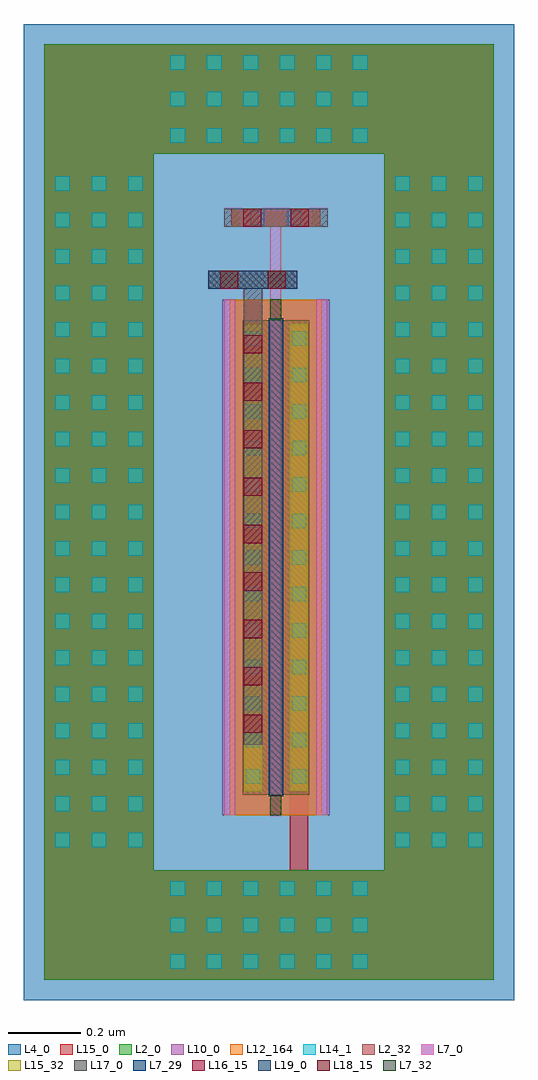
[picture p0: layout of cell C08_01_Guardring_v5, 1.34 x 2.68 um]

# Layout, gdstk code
import gdstk
lib = gdstk.Library(unit=1e-6, precision=1e-09)
def R(c, l, rs):  # rectangles x0, y0, x1, y1
    for r in rs: c.add(gdstk.rectangle(r[:2], r[2:], *l))
def A(c, l, x, y, w, h, nx, ny, dx, dy):  # array of equal rectangles
    R(c, l, [(x+i*dx, y+j*dy, x+i*dx+w, y+j*dy+h) for i in range(nx) for j in range(ny)])
L2_0 = (2, 0)
L2_32 = (2, 32)
L4_0 = (4, 0)
L7_0 = (7, 0)
L7_29 = (7, 29)
L7_32 = (7, 32)
L10_0 = (10, 0)
L12_164 = (12, 164)
L14_1 = (14, 1)
L15_0 = (15, 0)
L15_32 = (15, 32)
L16_15 = (16, 15)
L17_0 = (17, 0)
L18_15 = (18, 15)
L19_0 = (19, 0)

c08_01_guardring_v5_srf_ = lib.new_cell('C08_01_Guardring_v5:SRF_Tr11:SRF_Pmos:SRF_Source_ViaM1M2:SRF_ViaM1M2')
R(c08_01_guardring_v5_srf_, L15_0, [(0,-1.072,0.05,0.082)])
A(c08_01_guardring_v5_srf_, L16_15, 0, -1.04, 0.05, 0.05, 1, 9, 0, 0.13)
R(c08_01_guardring_v5_srf_, L17_0, [(0,-1.072,0.05,0.082)])

c_c08_01_guardring_v5_srf_ = lib.new_cell('C08_01_Guardring_v5:SRF_Tr11:SRF_Pmos:SRF_Source_ViaM1M2')
c_c08_01_guardring_v5_srf_.add(gdstk.Reference(c08_01_guardring_v5_srf_, (-0.025,0.495)))

c_c08_01_guardring_v5_srf__ = lib.new_cell('C08_01_Guardring_v5:SRF_Tr11:SRF_Pmos:SRF_Gate_ViaM0Mx:SRF_ViaM0M1')
R(c_c08_01_guardring_v5_srf__, L7_0, [(-0.01,-0.004,0.15,0.044)])
R(c_c08_01_guardring_v5_srf__, L14_1, [(0,0,0.04,0.04), (0.1,0,0.14,0.04)])
R(c_c08_01_guardring_v5_srf__, L15_0, [(-0.021,-0.005,0.161,0.045)])

c_c08_01_guardring_v5_srf___ = lib.new_cell('C08_01_Guardring_v5:SRF_Tr11:SRF_Pmos:SRF_Gate_ViaM0Mx:SRF_ViaM1M2')
R(c_c08_01_guardring_v5_srf___, L15_0, [(-0.032,0,0.212,0.05)])
R(c_c08_01_guardring_v5_srf___, L16_15, [(0,0,0.05,0.05), (0.13,0,0.18,0.05)])
R(c_c08_01_guardring_v5_srf___, L17_0, [(-0.032,0,0.212,0.05)])

c_c08_01_guardring_v5_srf____ = lib.new_cell('C08_01_Guardring_v5:SRF_Tr11:SRF_Pmos:SRF_Gate_ViaM0Mx')
c_c08_01_guardring_v5_srf____.add(gdstk.Reference(c_c08_01_guardring_v5_srf__, (-0.07,-0.02)))
c_c08_01_guardring_v5_srf____.add(gdstk.Reference(c_c08_01_guardring_v5_srf___, (-0.09,-0.025)))

c_c08_01_guardring_v5_srf_____ = lib.new_cell('C08_01_Guardring_v5:SRF_Tr11:SRF_Pmos')
R(c_c08_01_guardring_v5_srf_____, L2_0, [(-0.076,0.057,0.106,1.357)])
R(c_c08_01_guardring_v5_srf_____, L2_32, [(-0.076,0.057,0,1.357), (0.03,0.057,0.106,1.357)])
A(c_c08_01_guardring_v5_srf_____, L7_0, -0.126, 0, 0.03, 1.414, 3, 1, 0.126, 0)
R(c_c08_01_guardring_v5_srf_____, L7_0, [(0,1.414,0.03,1.614), (-0.085,1.614,0.115,1.662)])
R(c_c08_01_guardring_v5_srf_____, L7_29, [(-0.005,0.052,0.035,1.362)])
R(c_c08_01_guardring_v5_srf_____, L7_32, [(0,0,0.03,0.057), (0,1.357,0.03,1.414)])
R(c_c08_01_guardring_v5_srf_____, L10_0, [(-0.132,0.001,0.162,1.413)])
R(c_c08_01_guardring_v5_srf_____, L12_164, [(-0.111,0.001,0.141,1.413)])
A(c_c08_01_guardring_v5_srf_____, L14_1, -0.068, 0.087, 0.04, 0.04, 1, 13, 0, 0.1)
A(c_c08_01_guardring_v5_srf_____, L14_1, 0.058, 0.087, 0.04, 0.04, 1, 13, 0, 0.1)
R(c_c08_01_guardring_v5_srf_____, L15_0, [(-0.073,0.066,-0.023,1.348), (-0.073,0.066,-0.023,1.348), (0.053,0.066,0.103,1.348), (0.053,0.066,0.103,1.348)])
R(c_c08_01_guardring_v5_srf_____, L15_32, [(-0.073,0.066,-0.023,1.348), (0.053,0.066,0.103,1.348)])
R(c_c08_01_guardring_v5_srf_____, L17_0, [(-0.073,1.348,-0.023,1.443), (-0.073,1.443,-0.023,1.493), (-0.127,1.613,0.157,1.663)])
c_c08_01_guardring_v5_srf_____.add(gdstk.Reference(c_c08_01_guardring_v5_srf_, (-0.048,0.771)))
c_c08_01_guardring_v5_srf_____.add(gdstk.Reference(c_c08_01_guardring_v5_srf____, (0.015,1.638)))

c_c08_01_guardring_v5_srf______ = lib.new_cell('C08_01_Guardring_v5:SRF_Tr11:SRF_Source_ViaM2M3:SRF_ViaM2M3')
R(c_c08_01_guardring_v5_srf______, L17_0, [(-0.032,0,0.212,0.05)])
R(c_c08_01_guardring_v5_srf______, L18_15, [(0,0,0.05,0.05), (0.13,0,0.18,0.05)])
R(c_c08_01_guardring_v5_srf______, L19_0, [(-0.032,0,0.212,0.05)])

c_c08_01_guardring_v5_srf_______ = lib.new_cell('C08_01_Guardring_v5:SRF_Tr11:SRF_Source_ViaM2M3')
c_c08_01_guardring_v5_srf_______.add(gdstk.Reference(c_c08_01_guardring_v5_srf______, (-0.09,-0.025)))

c_c08_01_guardring_v5_srf________ = lib.new_cell('C08_01_Guardring_v5:SRF_Tr11')
R(c_c08_01_guardring_v5_srf________, L19_0, [(-0.073,1.443,-0.023,1.493)])
c_c08_01_guardring_v5_srf________.add(gdstk.Reference(c_c08_01_guardring_v5_srf_____, (0,0)))
c_c08_01_guardring_v5_srf________.add(gdstk.Reference(c_c08_01_guardring_v5_srf_______, (-0.048,1.468)))

c08_01_guardring_v5__nbo = lib.new_cell('C08_01_Guardring_v5:_Nbodyring:SRF_NbodyTop:SRF_NbodyContactPhyLen')
R(c08_01_guardring_v5__nbo, L2_0, [(-0.046,-0.23,0.586,0.07)])
R(c08_01_guardring_v5__nbo, L4_0, [(-0.102,-0.286,0.642,0.126)])
A(c08_01_guardring_v5__nbo, L14_1, 0, -0.2, 0.04, 0.04, 6, 3, 0.1, 0.1)
R(c08_01_guardring_v5__nbo, L15_0, [(-0.046,-0.23,0.586,0.07)])

c_c08_01_guardring_v5__nbo = lib.new_cell('C08_01_Guardring_v5:_Nbodyring:SRF_NbodyTop')
c_c08_01_guardring_v5__nbo.add(gdstk.Reference(c08_01_guardring_v5__nbo, (0,0)))

c_c08_01_guardring_v5__nbo_ = lib.new_cell('C08_01_Guardring_v5:_Nbodyring:SRF_NbodyBottom:SRF_NbodyContactPhyLen')
R(c_c08_01_guardring_v5__nbo_, L2_0, [(-0.046,-0.23,0.586,0.07)])
R(c_c08_01_guardring_v5__nbo_, L4_0, [(-0.102,-0.286,0.642,0.126)])
A(c_c08_01_guardring_v5__nbo_, L14_1, 0, -0.2, 0.04, 0.04, 6, 3, 0.1, 0.1)
R(c_c08_01_guardring_v5__nbo_, L15_0, [(-0.046,-0.23,0.586,0.07)])

c_c08_01_guardring_v5__nbo__ = lib.new_cell('C08_01_Guardring_v5:_Nbodyring:SRF_NbodyBottom')
c_c08_01_guardring_v5__nbo__.add(gdstk.Reference(c_c08_01_guardring_v5__nbo_, (0,0)))

c_c08_01_guardring_v5__nbo___ = lib.new_cell('C08_01_Guardring_v5:_Nbodyring:SRF_NbodyLeft:SRF_NbodyContactPhyLen')
R(c_c08_01_guardring_v5__nbo___, L2_0, [(-0.03,-1.862,0.27,0.101)])
R(c_c08_01_guardring_v5__nbo___, L4_0, [(-0.086,-1.918,0.326,0.157)])
A(c_c08_01_guardring_v5__nbo___, L14_1, 0, -1.8, 0.04, 0.04, 3, 19, 0.1, 0.1)
R(c_c08_01_guardring_v5__nbo___, L15_0, [(-0.03,-1.862,0.27,0.101)])

c_c08_01_guardring_v5__nbo____ = lib.new_cell('C08_01_Guardring_v5:_Nbodyring:SRF_NbodyLeft')
c_c08_01_guardring_v5__nbo____.add(gdstk.Reference(c_c08_01_guardring_v5__nbo___, (0,0)))

c_c08_01_guardring_v5__nbo_____ = lib.new_cell('C08_01_Guardring_v5:_Nbodyring:SRF_NbodyRight:SRF_NbodyContactPhyLen')
R(c_c08_01_guardring_v5__nbo_____, L2_0, [(-0.03,-1.862,0.27,0.101)])
R(c_c08_01_guardring_v5__nbo_____, L4_0, [(-0.086,-1.918,0.326,0.157)])
A(c_c08_01_guardring_v5__nbo_____, L14_1, 0, -1.8, 0.04, 0.04, 3, 19, 0.1, 0.1)
R(c_c08_01_guardring_v5__nbo_____, L15_0, [(-0.03,-1.862,0.27,0.101)])

c_c08_01_guardring_v5__nbo______ = lib.new_cell('C08_01_Guardring_v5:_Nbodyring:SRF_NbodyRight')
c_c08_01_guardring_v5__nbo______.add(gdstk.Reference(c_c08_01_guardring_v5__nbo_____, (0,0)))

c_c08_01_guardring_v5__nbo_______ = lib.new_cell('C08_01_Guardring_v5:_Nbodyring')
R(c_c08_01_guardring_v5__nbo_______, L2_0, [(-0.346,-2.493,0.886,-2.193), (-0.346,-2.493,-0.046,0.07), (0.586,-2.493,0.886,0.07), (-0.346,-0.23,0.886,0.07)])
R(c_c08_01_guardring_v5__nbo_______, L4_0, [(-0.402,-2.549,0.942,-2.137), (-0.402,-2.549,0.01,0.126), (0.53,-2.549,0.942,0.126), (-0.402,-0.286,0.942,0.126)])
R(c_c08_01_guardring_v5__nbo_______, L15_0, [(-0.346,-2.493,0.886,-2.193), (-0.346,-2.493,-0.046,0.07), (0.586,-2.493,0.886,0.07), (-0.346,-0.23,0.886,0.07)])
c_c08_01_guardring_v5__nbo_______.add(gdstk.Reference(c_c08_01_guardring_v5__nbo, (0,0)))
c_c08_01_guardring_v5__nbo_______.add(gdstk.Reference(c_c08_01_guardring_v5__nbo__, (0,-2.263)))
c_c08_01_guardring_v5__nbo_______.add(gdstk.Reference(c_c08_01_guardring_v5__nbo____, (-0.316,-0.331)))
c_c08_01_guardring_v5__nbo_______.add(gdstk.Reference(c_c08_01_guardring_v5__nbo______, (0.616,-0.331)))

c08_01_guardring_v5 = lib.new_cell('C08_01_Guardring_v5')
R(c08_01_guardring_v5, L4_0, [(-0.676,-0.506,0.668,2.169)])
R(c08_01_guardring_v5, L15_0, [(0.053,-0.15,0.103,0.066)])
c08_01_guardring_v5.add(gdstk.Reference(c_c08_01_guardring_v5_srf________, (0,0)))
c08_01_guardring_v5.add(gdstk.Reference(c_c08_01_guardring_v5__nbo_______, (-0.274,2.043)))

lib.write_gds('C08_01_Guardring_v5.gds')
